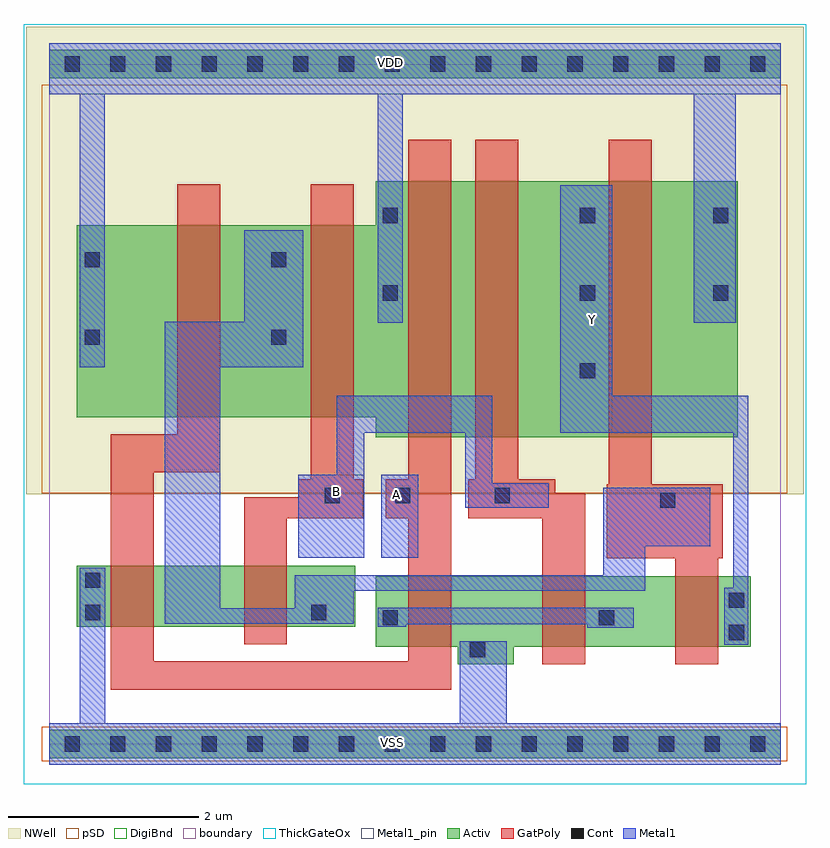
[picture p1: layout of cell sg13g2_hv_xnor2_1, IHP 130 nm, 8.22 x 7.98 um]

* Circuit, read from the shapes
.subckt sg13g2_hv_xnor2_1 A B VDD VSS Y
XM1 n1 A VSS VSS sg13_hv_nmos w=0.64u l=0.45u
XM2 n2 B n1 VSS sg13_hv_nmos w=0.64u l=0.45u
XM3 VSS A n3 VSS sg13_hv_nmos w=0.74u l=0.45u
XM4 n3 B VSS VSS sg13_hv_nmos w=0.74u l=0.45u
XM5 Y n2 n3 VSS sg13_hv_nmos w=0.74u l=0.45u
XM6 n2 A VDD VDD sg13_hv_pmos w=2.015u l=0.45u
XM7 VDD B n2 VDD sg13_hv_pmos w=2.015u l=0.45u
XM8 n4 A VDD VDD sg13_hv_pmos w=2.69u l=0.45u
XM9 Y B n4 VDD sg13_hv_pmos w=2.69u l=0.45u
XM10 VDD n2 Y VDD sg13_hv_pmos w=2.69u l=0.45u
.ends

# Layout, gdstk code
import gdstk
lib = gdstk.Library(unit=1e-6, precision=1e-09)
def R(c, l, rs):  # rectangles x0, y0, x1, y1
    for r in rs: c.add(gdstk.rectangle(r[:2], r[2:], *l))
def A(c, l, x, y, w, h, nx, ny, dx, dy):  # array of equal rectangles
    R(c, l, [(x+i*dx, y+j*dy, x+i*dx+w, y+j*dy+h) for i in range(nx) for j in range(ny)])
def P(c, l, *ps):  # polygons
    for p in ps: c.add(gdstk.Polygon(p, *l))
Activ = (1, 0)
GatPoly = (5, 0)
Cont = (6, 0)
Metal1 = (8, 0)
Metal1_pin = (8, 2)
pSD = (14, 0)
DigiBnd = (16, 0)
NWell = (31, 0)
ThickGateOx = (44, 0)
boundary = (189, 4)

sg13g2_hv_xnor2_1 = lib.new_cell('sg13g2_hv_xnor2_1')
R(sg13g2_hv_xnor2_1, Activ, [(0,-0.15,7.68,0.15), (0.29,1.23,3.215,1.87), (0,6.99,7.68,7.29)])
P(sg13g2_hv_xnor2_1, Activ, [(4.29,0.84),(4.29,1.02),(3.43,1.02),(3.43,1.76),(7.365,1.76),(7.365,1.02),(4.875,1.02),(4.875,0.84)],
  [(3.43,3.22),(3.43,3.43),(0.29,3.43),(0.29,5.445),(3.43,5.445),(3.43,5.91),(7.23,5.91),(7.23,3.22)])
P(sg13g2_hv_xnor2_1, GatPoly, [(0.645,0.57),(0.645,3.25),(1.345,3.25),(1.345,5.875),(1.795,5.875),(1.795,2.855),(1.095,2.855),(1.095,0.87),(3.77,0.87),(3.77,2.37),(3.535,2.37),(3.535,2.78),(3.77,2.78),(3.77,6.345),(4.22,6.345),(4.22,0.57)],
  [(5.175,0.84),(5.175,2.37),(4.4,2.37),(4.4,2.78),(4.475,2.78),(4.475,6.345),(4.925,6.345),(4.925,2.78),(5.315,2.78),(5.315,2.635),(5.625,2.635),(5.625,0.84)],
  [(6.575,0.84),(6.575,1.95),(5.855,1.95),(5.855,2.725),(5.875,2.725),(5.875,6.345),(6.325,6.345),(6.325,2.725),(7.07,2.725),(7.07,1.95),(7.025,1.95),(7.025,0.84)],
  [(2.045,1.05),(2.045,2.59),(2.615,2.59),(2.615,2.78),(2.745,2.78),(2.745,5.875),(3.195,5.875),(3.195,2.78),(3.295,2.78),(3.295,2.37),(2.495,2.37),(2.495,1.05)])
A(sg13g2_hv_xnor2_1, Cont, 0.16, -0.08, 0.16, 0.16, 16, 2, 0.48, 7.14)
A(sg13g2_hv_xnor2_1, Cont, 5.57, 3.84, 0.16, 0.16, 1, 3, 0, 0.815)
R(sg13g2_hv_xnor2_1, Cont, [(4.415,0.91,4.575,1.07), (7.135,1.09,7.295,1.25), (3.5,1.245,3.66,1.405), (5.77,1.245,5.93,1.405), (0.375,1.3,0.535,1.46), (2.75,1.3,2.91,1.46), (7.135,1.43,7.295,1.59), (0.375,1.64,0.535,1.8), (6.415,2.48,6.575,2.64), (2.89,2.53,3.05,2.69), (3.63,2.53,3.79,2.69), (4.675,2.53,4.835,2.69), (0.37,4.19,0.53,4.35), (2.33,4.19,2.49,4.35), (3.5,4.655,3.66,4.815), (6.97,4.655,7.13,4.815), (0.37,5.005,0.53,5.165), (2.33,5.005,2.49,5.165), (3.5,5.47,3.66,5.63), (6.97,5.47,7.13,5.63)])
R(sg13g2_hv_xnor2_1, Metal1, [(3.485,1.955,3.875,2.825)])
P(sg13g2_hv_xnor2_1, Metal1, [(0.32,3.955),(0.32,6.825),(0,6.825),(0,7.36),(7.68,7.36),(7.68,6.825),(7.21,6.825),(7.21,4.425),(6.765,4.425),(6.765,6.825),(3.71,6.825),(3.71,4.425),(3.45,4.425),(3.45,6.825),(0.58,6.825),(0.58,3.955)],
  [(0,-0.22),(0,0.22),(0.32,0.22),(0.32,1.85),(0.585,1.85),(0.585,0.22),(4.31,0.22),(4.31,1.08),(4.805,1.08),(4.805,0.22),(7.68,0.22),(7.68,-0.22)],
  [(1.21,1.265),(1.21,4.435),(2.045,4.435),(2.045,5.395),(2.665,5.395),(2.665,3.955),(1.795,3.955),(1.795,1.425),(2.575,1.425),(2.575,1.77),(5.815,1.77),(5.815,2.69),(6.94,2.69),(6.94,2.075),(6.255,2.075),(6.255,1.61),(3.195,1.61),(3.195,1.265)],
  [(5.65,1.22),(5.65,1.26),(3.75,1.26),(3.75,1.23),(3.45,1.23),(3.45,1.43),(6.135,1.43),(6.135,1.22)],
  [(7.085,1.04),(7.085,1.64),(7.18,1.64),(7.18,3.27),(5.365,3.27),(5.365,5.865),(5.91,5.865),(5.91,3.655),(7.34,3.655),(7.34,1.04)],
  [(2.615,1.955),(2.615,2.825),(3.02,2.825),(3.02,3.655),(4.65,3.655),(4.65,2.74),(5.245,2.74),(5.245,2.48),(4.365,2.48),(4.365,3.27),(3.305,3.27),(3.305,1.955)])
R(sg13g2_hv_xnor2_1, Metal1_pin, [(0,-0.22,7.68,0.22), (2.615,1.955,3.305,2.825), (3.485,1.955,3.875,2.825), (5.365,3.27,5.91,5.865), (0,6.825,7.68,7.36)])
R(sg13g2_hv_xnor2_1, pSD, [(-0.08,-0.18,7.75,0.18), (-0.08,2.635,7.75,6.92)])
R(sg13g2_hv_xnor2_1, DigiBnd, [(0,0,7.68,7.14)])
R(sg13g2_hv_xnor2_1, NWell, [(-0.24,2.625,7.92,7.53)])
R(sg13g2_hv_xnor2_1, ThickGateOx, [(-0.27,-0.42,7.95,7.56)])
R(sg13g2_hv_xnor2_1, boundary, [(0,0,7.68,7.14)])
sg13g2_hv_xnor2_1.add(gdstk.Label('Y', (5.7,4.46), layer=8, texttype=25))
sg13g2_hv_xnor2_1.add(gdstk.Label('B', (3.02,2.65), layer=8, texttype=25))
sg13g2_hv_xnor2_1.add(gdstk.Label('VDD', (3.585,7.155), layer=8, texttype=25))
sg13g2_hv_xnor2_1.add(gdstk.Label('A', (3.645,2.625), layer=8, texttype=25))
sg13g2_hv_xnor2_1.add(gdstk.Label('VSS', (3.605,0.015), layer=8, texttype=25))

lib.write_gds('sg13g2_hv_xnor2_1.gds')
